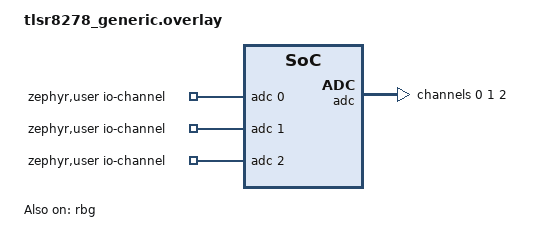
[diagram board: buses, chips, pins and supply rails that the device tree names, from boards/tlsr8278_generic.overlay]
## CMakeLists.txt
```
# SPDX-License-Identifier: Apache-2.0

cmake_minimum_required(VERSION 3.20.0)
find_package(Zephyr REQUIRED HINTS $ENV{ZEPHYR_BASE})
project(adc_tlsr8278)

target_sources(app PRIVATE src/main.c)
```

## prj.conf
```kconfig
CONFIG_ZTEST=y
CONFIG_ADC=y
CONFIG_ADC_ASYNC=y
CONFIG_TC32_RNG=y
CONFIG_TC32_RNG_ADC_DUMP=y
```

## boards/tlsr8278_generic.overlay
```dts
/*
 * SPDX-License-Identifier: Apache-2.0
 */

#include <zephyr/dt-bindings/adc/adc.h>

/ {
	zephyr,user {
		io-channels = <&adc 0>, <&adc 1>, <&adc 2>;
	};
};

&adc {
	#address-cells = <1>;
	#size-cells = <0>;

	/* PB3, single-ended */
	channel@0 {
		reg = <0>;
		zephyr,gain = "ADC_GAIN_1";
		zephyr,reference = "ADC_REF_INTERNAL";
		zephyr,acquisition-time = <ADC_ACQ_TIME_DEFAULT>;
		zephyr,resolution = <13>;
		zephyr,input-positive = <4>;
	};

	/* PC4, single-ended, 12 sampling cycles */
	channel@1 {
		reg = <1>;
		zephyr,gain = "ADC_GAIN_1";
		zephyr,reference = "ADC_REF_INTERNAL";
		zephyr,acquisition-time = <ADC_ACQ_TIME(ADC_ACQ_TIME_TICKS, 12)>;
		zephyr,resolution = <13>;
		zephyr,input-positive = <9>;
	};

	/* PB4 against PB5 */
	channel@2 {
		reg = <2>;
		zephyr,gain = "ADC_GAIN_1";
		zephyr,reference = "ADC_REF_INTERNAL";
		zephyr,acquisition-time = <ADC_ACQ_TIME_DEFAULT>;
		zephyr,resolution = <14>;
		zephyr,differential;
		zephyr,input-positive = <5>;
		zephyr,input-negative = <6>;
	};
};

/* tc32_rng's random bit generator. */
&rbg {
	status = "okay";
};
```

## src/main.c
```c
/*
 * The TLSR8278 ADC driver on tlsr8278_generic, in TC32-devtools' emulator,
 * whose emulator-only register 0xffe4 gives a pin input a code of its own:
 * the inputs a channel selects, the codes as resolution 13 and 14 give
 * them, the settings a conversion leaves, the refusals; and tc32_rng's ADC
 * source waiting for a read that holds the ADC, with the application's
 * hooks still called.
 *
 * SPDX-License-Identifier: Apache-2.0
 */

#include <zephyr/drivers/adc.h>
#include <zephyr/kernel.h>
#include <zephyr/random/tc32_rng.h>
#include <zephyr/sys/atomic.h>
#include <zephyr/sys/sys_io.h>
#include <zephyr/ztest.h>

#include <tlsr8278_analog.h>

#define PIN_CODE   0x0080ffe4U /* emulator only */
#define DFIFO_MODE 0x00800b10U
#define VBAT_CODE  0x1df5      /* the emulator's VBAT conversions, with noise */

#define SPEC(node_id, prop, idx) ADC_DT_SPEC_GET_BY_IDX(node_id, idx),

static const struct adc_dt_spec chan[] = {
	DT_FOREACH_PROP_ELEM(DT_PATH(zephyr_user), io_channels, SPEC)};

static atomic_t app_locks, app_unlocks;

/* The application's hooks, as an application with its own ADC user has them. */
int tc32_rng_adc_lock(void)
{
	atomic_inc(&app_locks);
	return 0;
}

void tc32_rng_adc_unlock(void)
{
	atomic_inc(&app_unlocks);
}

static void pin_code(uint8_t input, uint16_t code)
{
	sys_write32(BIT(24) | ((uint32_t)input << 16) | code, PIN_CODE);
}

static int read(int idx, uint8_t resolution, int16_t *out)
{
	struct adc_sequence seq = {
		.channels = BIT(chan[idx].channel_id),
		.buffer = out,
		.buffer_size = sizeof(*out),
		.resolution = resolution,
	};

	return adc_read(chan[idx].dev, &seq);
}

static void *setup(void)
{
	for (size_t i = 0; i < ARRAY_SIZE(chan); i++) {
		zassert_true(adc_is_ready_dt(&chan[i]));
		zassert_ok(adc_channel_setup_dt(&chan[i]));
	}
	return NULL;
}

ZTEST(adc_tlsr8278, test_codes)
{
	int16_t v = 0, two[2] = {0};
	struct adc_sequence seq = {
		.channels = BIT(0) | BIT(1),
		.buffer = two,
		.buffer_size = sizeof(two),
		.resolution = 13,
	};

	pin_code(4, 0x0abc);       /* PB3 */
	pin_code(9, 0x3f00);       /* PC4: below ground, -256 */
	pin_code(5, 0x3fff);       /* PB4: -1 */
	zassert_ok(read(0, 13, &v));
	zassert_equal(v, 0x0abc, "PB3 0x%x", v);
	zassert_ok(read(1, 13, &v));
	zassert_equal(v, 0, "PC4 at resolution 13: %d", v);
	zassert_ok(read(1, 14, &v));
	zassert_equal(v, -256, "PC4 at resolution 14: %d", v);
	zassert_ok(read(2, 14, &v));
	zassert_equal(v, -1, "PB4 - PB5: %d", v);

	/* Two channels in one sequence, in channel order. */
	zassert_ok(adc_read(chan[0].dev, &seq));
	zassert_equal(two[0], 0x0abc);
	zassert_equal(two[1], 0);

	/* What the last conversion (channel 1) left: its input against ground, 12 sampling
	 * cycles (0xee = 3), 14-bit differential mode, 1.2 V, 4 MHz, the misc channel's two
	 * states, the ADC powered down and the DMA off.
	 */
	zassert_equal(tlsr8278_analog_read(0xeb), 0x9f);
	zassert_equal(tlsr8278_analog_read(0xee), 0x03);
	zassert_equal(tlsr8278_analog_read(0xec), 0x43);
	zassert_equal(tlsr8278_analog_read(0xea), 0x02);
	zassert_equal(tlsr8278_analog_read(0xf4), 0x05);
	zassert_equal(tlsr8278_analog_read(0xf2), 0x24);
	zassert_equal(tlsr8278_analog_read(0xfc) & BIT(5), BIT(5), "ADC left powered");
	zassert_equal(sys_read8(DFIFO_MODE) & BIT(2), 0U, "DMA left on");

	/* The differential channel's inputs. */
	zassert_ok(read(2, 14, &v));
	zassert_equal(tlsr8278_analog_read(0xeb), 0x56);
	sys_write32(0U, PIN_CODE);
}

ZTEST(adc_tlsr8278, test_refusals)
{
	struct adc_channel_cfg cfg = {
		.gain = ADC_GAIN_1,
		.reference = ADC_REF_INTERNAL,
		.acquisition_time = ADC_ACQ_TIME_DEFAULT,
		.channel_id = 5,
		.input_positive = 1,
	};
	const struct device *dev = chan[0].dev;
	int16_t v[2];
	struct adc_sequence seq = {
		.channels = BIT(0),
		.buffer = v,
		.buffer_size = sizeof(v),
		.resolution = 13,
	};

	cfg.gain = ADC_GAIN_1_2;
	zassert_equal(adc_channel_setup(dev, &cfg), -EINVAL, "gain 1/2");
	cfg.gain = ADC_GAIN_1;
	cfg.reference = ADC_REF_VDD_1;
	zassert_equal(adc_channel_setup(dev, &cfg), -EINVAL, "reference VDD");
	cfg.reference = ADC_REF_INTERNAL;
	cfg.input_positive = 0;
	zassert_equal(adc_channel_setup(dev, &cfg), -EINVAL, "input 0");
	cfg.input_positive = 11;
	zassert_equal(adc_channel_setup(dev, &cfg), -EINVAL, "input 11");
	cfg.input_positive = 1;
	cfg.differential = 1;
	cfg.input_negative = 0;
	zassert_equal(adc_channel_setup(dev, &cfg), -EINVAL, "negative input 0");
	cfg.differential = 0;
	cfg.acquisition_time = ADC_ACQ_TIME(ADC_ACQ_TIME_TICKS, 4);
	zassert_equal(adc_channel_setup(dev, &cfg), -EINVAL, "4 cycles");
	cfg.acquisition_time = ADC_ACQ_TIME(ADC_ACQ_TIME_MICROSECONDS, 3);
	zassert_equal(adc_channel_setup(dev, &cfg), -EINVAL, "microseconds");
	cfg.acquisition_time = ADC_ACQ_TIME_DEFAULT;
	cfg.channel_id = 8;
	zassert_equal(adc_channel_setup(dev, &cfg), -EINVAL, "channel 8");

	seq.resolution = 12;
	zassert_equal(adc_read(dev, &seq), -EINVAL, "resolution 12");
	seq.resolution = 13;
	seq.oversampling = 1;
	zassert_equal(adc_read(dev, &seq), -ENOTSUP, "oversampling");
	seq.oversampling = 0;
	seq.channels = BIT(5);
	zassert_equal(adc_read(dev, &seq), -EINVAL, "channel 5 not set up");
	seq.channels = BIT(0) | BIT(1) | BIT(2);
	zassert_equal(adc_read(dev, &seq), -ENOMEM, "three channels into two samples");
}

static K_THREAD_STACK_DEFINE(rng_stack, 1024);
static struct k_thread rng_thread;
static uint16_t rng_codes[16];
static volatile uint32_t rng_done_ms;

static void rng_entry(void *a, void *b, void *c)
{
	ARG_UNUSED(a);
	ARG_UNUSED(b);
	ARG_UNUSED(c);
	(void)tc32_rng_adc_samples(rng_codes, ARRAY_SIZE(rng_codes));
	rng_done_ms = k_uptime_get_32();
}

ZTEST(adc_tlsr8278, test_rng_waits_for_a_read)
{
	int16_t samples[10];
	struct adc_sequence_options opt = {
		.interval_us = 10000,
		.extra_samplings = ARRAY_SIZE(samples) - 1,
	};
	struct adc_sequence seq = {
		.options = &opt,
		.channels = BIT(0),
		.buffer = samples,
		.buffer_size = sizeof(samples),
		.resolution = 13,
	};
	struct k_poll_signal sig;
	struct k_poll_event ev = K_POLL_EVENT_INITIALIZER(K_POLL_TYPE_SIGNAL,
							  K_POLL_MODE_NOTIFY_ONLY, &sig);
	uint32_t adc_done_ms;
	atomic_val_t locks0 = atomic_get(&app_locks);

	pin_code(4, 0x0abc);
	k_poll_signal_init(&sig);
	/* About 90 ms of conversions every 10 ms, the ADC held for all of them. */
	zassert_ok(adc_read_async(chan[0].dev, &seq, &sig));
	k_thread_create(&rng_thread, rng_stack, K_THREAD_STACK_SIZEOF(rng_stack), rng_entry,
			NULL, NULL, NULL, K_PRIO_PREEMPT(1), 0, K_MSEC(5));
	zassert_ok(k_poll(&ev, 1, K_SECONDS(2)));
	adc_done_ms = k_uptime_get_32();
	zassert_ok(k_thread_join(&rng_thread, K_SECONDS(2)));

	for (size_t i = 0; i < ARRAY_SIZE(samples); i++) {
		zassert_equal(samples[i], 0x0abc, "sample %u: 0x%x", (unsigned int)i, samples[i]);
	}
	for (size_t i = 0; i < ARRAY_SIZE(rng_codes); i++) {
		int d = (int)(rng_codes[i] & 0x1fffU) - VBAT_CODE;

		zassert_true(d > -64 && d < 64, "tc32_rng code %u: 0x%x", (unsigned int)i,
			     rng_codes[i]);
	}
	zassert_true(rng_done_ms >= adc_done_ms - 1U, "tc32_rng done at %u ms, the read at %u ms",
		     rng_done_ms, adc_done_ms);
	zassert_equal(atomic_get(&app_locks), locks0 + 1, "the application's lock");
	zassert_equal(atomic_get(&app_unlocks), atomic_get(&app_locks), "its unlock");
	sys_write32(0U, PIN_CODE);
}

ZTEST_SUITE(adc_tlsr8278, NULL, setup, NULL, NULL, NULL);
```
